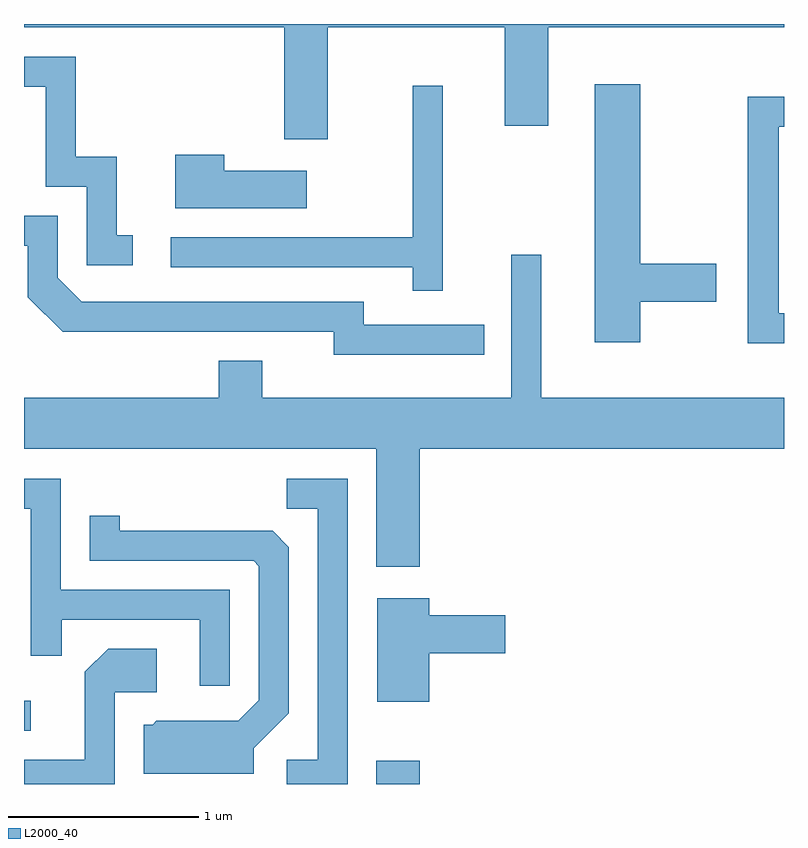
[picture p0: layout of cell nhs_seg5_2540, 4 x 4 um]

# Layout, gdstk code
import gdstk
lib = gdstk.Library(unit=1e-6, precision=1e-09)
def R(c, l, rs):  # rectangles x0, y0, x1, y1
    for r in rs: c.add(gdstk.rectangle(r[:2], r[2:], *l))
def P(c, l, *ps):  # polygons
    for p in ps: c.add(gdstk.Polygon(p, *l))
L2000_40 = (2000, 40)

nhs_seg5_2540 = lib.new_cell('nhs_seg5_2540')
R(nhs_seg5_2540, L2000_40, [(261.466,1526.072,261.694,1526.194), (259.611,1526.351,259.647,1526.509)])
P(nhs_seg5_2540, L2000_40, [(261.209,1530.056),(262.141,1530.056),(262.141,1529.536),(262.369,1529.536),(262.369,1530.056),(263.611,1530.056),(263.611,1530.072),(259.611,1530.072),(259.611,1530.056),(260.981,1530.056),(260.981,1529.466),(261.209,1529.466)],
  [(260.183,1528.959),(260.099,1528.959),(260.099,1529.374),(259.884,1529.374),(259.884,1529.899),(259.611,1529.899),(259.611,1529.741),(259.726,1529.741),(259.726,1529.216),(259.941,1529.216),(259.941,1528.801),(260.183,1528.801)],
  [(262.854,1528.611),(263.254,1528.611),(263.254,1528.809),(262.854,1528.809),(262.854,1529.754),(262.616,1529.754),(262.616,1528.396),(262.854,1528.396)],
  [(261.814,1529.748),(261.656,1529.748),(261.656,1528.949),(260.383,1528.949),(260.383,1528.791),(261.656,1528.791),(261.656,1528.668),(261.814,1528.668)],
  [(263.611,1528.549),(263.584,1528.549),(263.584,1529.531),(263.611,1529.531),(263.611,1529.689),(263.421,1529.689),(263.421,1528.391),(263.611,1528.391)],
  [(261.099,1529.299),(260.664,1529.299),(260.664,1529.384),(260.406,1529.384),(260.406,1529.101),(261.099,1529.101)],
  [(262.033,1528.489),(261.399,1528.489),(261.399,1528.609),(259.916,1528.609),(259.789,1528.737),(259.789,1529.064),(259.611,1529.064),(259.611,1528.906),(259.631,1528.906),(259.631,1528.634),(259.814,1528.451),(261.241,1528.451),(261.241,1528.331),(262.033,1528.331)],
  [(261.694,1527.836),(263.611,1527.836),(263.611,1528.104),(262.334,1528.104),(262.334,1528.858),(262.176,1528.858),(262.176,1528.104),(260.864,1528.104),(260.864,1528.299),(260.636,1528.299),(260.636,1528.104),(259.611,1528.104),(259.611,1527.836),(261.466,1527.836),(261.466,1527.216),(261.694,1527.216)],
  [(260.694,1527.094),(259.804,1527.094),(259.804,1527.679),(259.611,1527.679),(259.611,1527.521),(259.646,1527.521),(259.646,1526.748),(259.809,1526.748),(259.809,1526.936),(260.536,1526.936),(260.536,1526.588),(260.694,1526.588)],
  [(261.314,1527.679),(260.993,1527.679),(260.993,1527.521),(261.156,1527.521),(261.156,1526.199),(260.993,1526.199),(260.993,1526.072),(261.314,1526.072)],
  [(260.819,1526.259),(261.004,1526.444),(261.004,1527.319),(260.919,1527.404),(260.114,1527.404),(260.114,1527.483),(259.956,1527.483),(259.956,1527.246),(260.819,1527.246),(260.846,1527.219),(260.846,1526.512),(260.739,1526.404),(260.308,1526.404),(260.289,1526.384),(260.241,1526.384),(260.241,1526.126),(260.819,1526.126)],
  [(261.744,1526.761),(262.144,1526.761),(262.144,1526.959),(261.744,1526.959),(261.744,1527.049),(261.471,1527.049),(261.471,1526.506),(261.744,1526.506)],
  [(260.089,1526.556),(260.309,1526.556),(260.309,1526.784),(260.054,1526.784),(259.931,1526.662),(259.931,1526.199),(259.611,1526.199),(259.611,1526.072),(260.089,1526.072)])

lib.write_gds('nhs_seg5_2540.gds')
